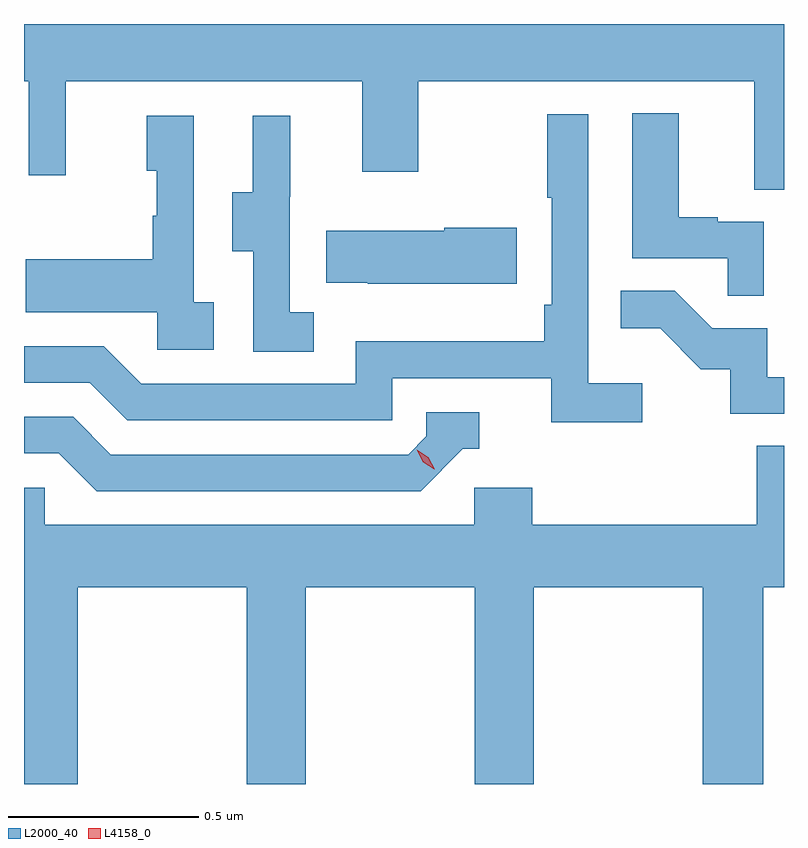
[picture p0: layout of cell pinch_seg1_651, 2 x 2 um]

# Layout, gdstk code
import gdstk
lib = gdstk.Library(unit=1e-6, precision=1e-09)
def P(c, l, *ps):  # polygons
    for p in ps: c.add(gdstk.Polygon(p, *l))
L2000_40 = (2000, 40)
L4158_0 = (4158, 0)

pinch_seg1_651 = lib.new_cell('pinch_seg1_651')
P(pinch_seg1_651, L2000_40, [(1122.581,505.262),(1120.581,505.262),(1120.581,505.112),(1120.593,505.112),(1120.593,504.864),(1120.691,504.864),(1120.691,505.112),(1121.471,505.112),(1121.471,504.873),(1121.619,504.873),(1121.619,505.112),(1122.503,505.112),(1122.503,504.826),(1122.581,504.826)],
  [(1122.528,504.741),(1122.407,504.741),(1122.407,504.754),(1122.304,504.754),(1122.304,505.027),(1122.182,505.027),(1122.182,504.645),(1122.433,504.645),(1122.433,504.547),(1122.528,504.547)],
  [(1122.208,504.316),(1122.066,504.316),(1122.066,505.024),(1121.958,505.024),(1121.958,504.805),(1121.97,504.805),(1121.97,504.523),(1121.95,504.523),(1121.95,504.427),(1121.454,504.427),(1121.454,504.315),(1120.89,504.315),(1120.791,504.414),(1120.581,504.414),(1120.581,504.318),(1120.754,504.318),(1120.853,504.219),(1121.55,504.219),(1121.55,504.33),(1121.969,504.33),(1121.969,504.214),(1122.208,504.214)],
  [(1121.08,504.53),(1121.028,504.53),(1121.028,505.021),(1120.904,505.021),(1120.904,504.876),(1120.93,504.876),(1120.93,504.758),(1120.92,504.758),(1120.92,504.643),(1120.585,504.643),(1120.585,504.503),(1120.932,504.503),(1120.932,504.405),(1121.08,504.405)],
  [(1121.344,504.503),(1121.28,504.503),(1121.28,504.807),(1121.282,504.807),(1121.282,505.021),(1121.183,505.021),(1121.183,504.819),(1121.129,504.819),(1121.129,504.664),(1121.184,504.664),(1121.184,504.4),(1121.344,504.4)],
  [(1121.878,504.726),(1121.687,504.726),(1121.687,504.718),(1121.377,504.718),(1121.377,504.581),(1121.485,504.581),(1121.485,504.578),(1121.878,504.578)],
  [(1122.581,504.333),(1122.537,504.333),(1122.537,504.462),(1122.392,504.462),(1122.294,504.56),(1122.151,504.56),(1122.151,504.461),(1122.255,504.461),(1122.362,504.354),(1122.439,504.354),(1122.439,504.237),(1122.581,504.237)],
  [(1121.736,504.144),(1121.779,504.144),(1121.779,504.24),(1121.64,504.24),(1121.64,504.177),(1121.592,504.129),(1120.809,504.129),(1120.71,504.228),(1120.581,504.228),(1120.581,504.132),(1120.673,504.132),(1120.772,504.033),(1121.625,504.033)],
  [(1120.722,503.78),(1121.167,503.78),(1121.167,503.262),(1121.322,503.262),(1121.322,503.78),(1121.767,503.78),(1121.767,503.262),(1121.922,503.262),(1121.922,503.78),(1122.367,503.78),(1122.367,503.262),(1122.527,503.262),(1122.527,503.78),(1122.581,503.78),(1122.581,504.152),(1122.509,504.152),(1122.509,503.944),(1121.918,503.944),(1121.918,504.042),(1121.766,504.042),(1121.766,503.944),(1120.635,503.944),(1120.635,504.042),(1120.581,504.042),(1120.581,503.262),(1120.722,503.262)])
P(pinch_seg1_651, L4158_0, [(1121.661,504.09),(1121.631,504.109),(1121.614,504.141),(1121.614,504.142),(1121.615,504.142),(1121.645,504.122),(1121.662,504.09),(1121.662,504.09)])

lib.write_gds('pinch_seg1_651.gds')
